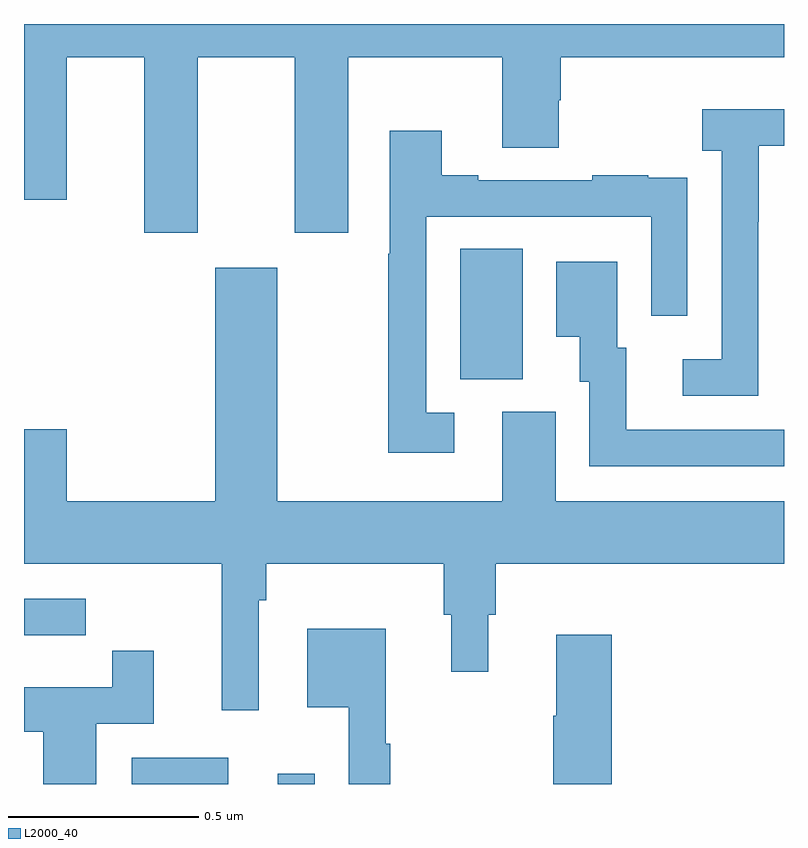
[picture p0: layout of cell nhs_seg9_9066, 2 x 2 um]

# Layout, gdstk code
import gdstk
lib = gdstk.Library(unit=1e-6, precision=1e-09)
def R(c, l, rs):  # rectangles x0, y0, x1, y1
    for r in rs: c.add(gdstk.rectangle(r[:2], r[2:], *l))
def P(c, l, *ps):  # polygons
    for p in ps: c.add(gdstk.Polygon(p, *l))
L2000_40 = (2000, 40)

nhs_seg9_9066 = lib.new_cell('nhs_seg9_9066')
R(nhs_seg9_9066, L2000_40, [(225.284,1202.5,225.538,1202.569), (225.668,1202.5,225.765,1202.527), (226.148,1203.565,226.312,1203.908)])
P(nhs_seg9_9066, L2000_40, [(225.457,1204.412),(225.713,1204.412),(225.713,1203.951),(225.853,1203.951),(225.853,1204.412),(226.259,1204.412),(226.259,1204.174),(226.407,1204.174),(226.407,1204.299),(226.412,1204.299),(226.412,1204.412),(227,1204.412),(227,1204.5),(225,1204.5),(225,1204.038),(225.112,1204.038),(225.112,1204.412),(225.317,1204.412),(225.317,1203.951),(225.457,1203.951)],
  [(226.932,1203.979),(226.933,1203.979),(226.933,1204.179),(227,1204.179),(227,1204.276),(226.785,1204.276),(226.785,1204.166),(226.836,1204.166),(226.836,1203.618),(226.734,1203.618),(226.734,1203.522),(226.932,1203.522)],
  [(226.132,1203.477),(226.059,1203.477),(226.059,1203.993),(226.65,1203.993),(226.65,1203.732),(226.746,1203.732),(226.746,1203.986),(226.745,1203.986),(226.745,1204.095),(226.643,1204.095),(226.643,1204.102),(226.495,1204.102),(226.495,1204.089),(226.195,1204.089),(226.195,1204.102),(226.099,1204.102),(226.099,1204.219),(225.963,1204.219),(225.963,1203.896),(225.958,1203.896),(225.958,1203.372),(226.132,1203.372)],
  [(227,1203.432),(226.585,1203.432),(226.585,1203.648),(226.561,1203.648),(226.561,1203.874),(226.4,1203.874),(226.4,1203.677),(226.463,1203.677),(226.463,1203.558),(226.488,1203.558),(226.488,1203.336),(227,1203.336)],
  [(225.618,1202.984),(225.638,1202.984),(225.638,1203.08),(226.105,1203.08),(226.105,1202.946),(226.124,1202.946),(226.124,1202.796),(226.222,1202.796),(226.222,1202.946),(226.241,1202.946),(226.241,1203.08),(227,1203.08),(227,1203.244),(226.399,1203.244),(226.399,1203.48),(226.259,1203.48),(226.259,1203.244),(225.667,1203.244),(225.667,1203.859),(225.503,1203.859),(225.503,1203.244),(225.112,1203.244),(225.112,1203.433),(225,1203.433),(225,1203.08),(225.521,1203.08),(225.521,1202.694),(225.618,1202.694)],
  [(225.05,1202.892),(225.163,1202.892),(225.163,1202.988),(225,1202.988),(225,1202.891),(225.05,1202.891)],
  [(225.964,1202.606),(225.952,1202.606),(225.952,1202.908),(225.746,1202.908),(225.746,1202.702),(225.855,1202.702),(225.855,1202.5),(225.964,1202.5)],
  [(226.547,1202.893),(226.4,1202.893),(226.4,1202.68),(226.393,1202.68),(226.393,1202.5),(226.547,1202.5)],
  [(225.19,1202.658),(225.341,1202.658),(225.341,1202.851),(225.232,1202.851),(225.232,1202.754),(225,1202.754),(225,1202.638),(225.05,1202.638),(225.05,1202.5),(225.19,1202.5)])

lib.write_gds('nhs_seg9_9066.gds')
